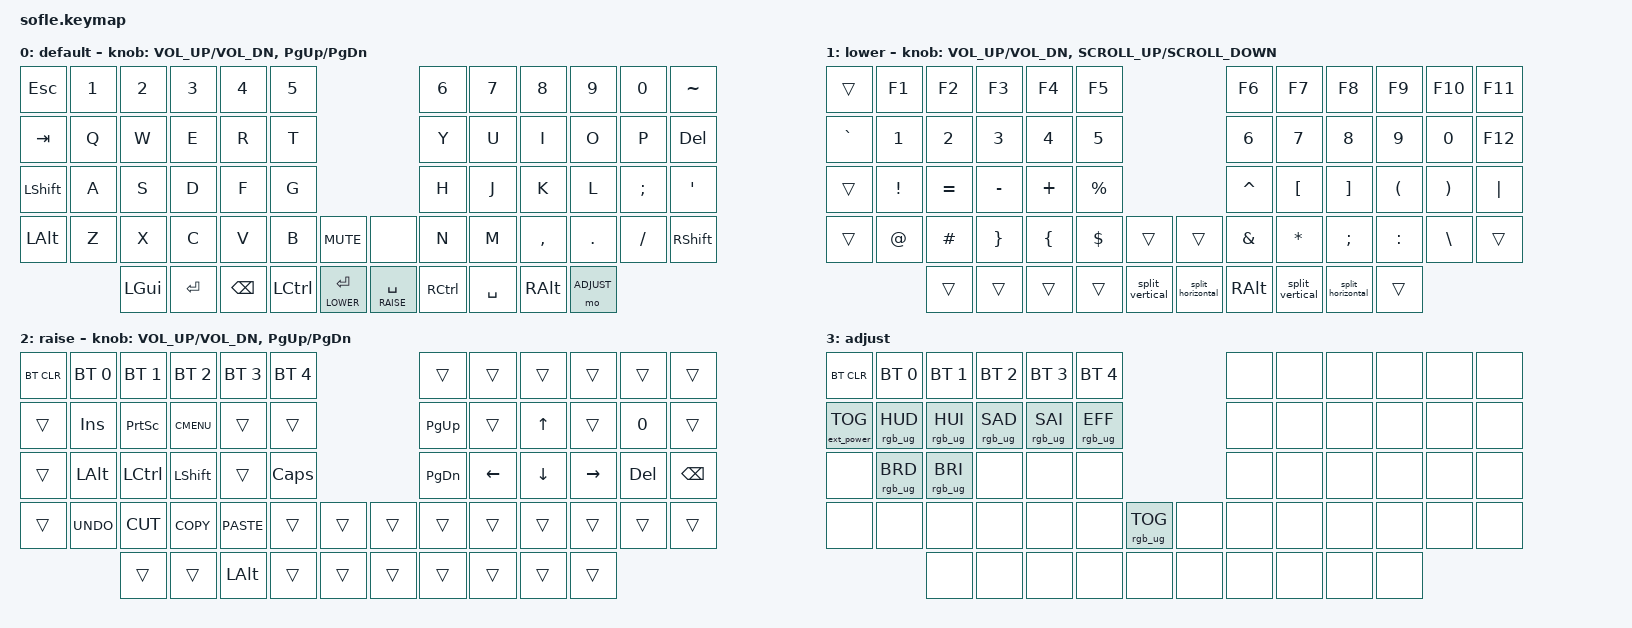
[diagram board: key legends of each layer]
/*
 * Copyright (c) 2020 The ZMK Contributors
 *
 * SPDX-License-Identifier: MIT
 */

#include <behaviors.dtsi>
#include <dt-bindings/zmk/bt.h>
#include <dt-bindings/zmk/ext_power.h>
#include <dt-bindings/zmk/keys.h>
#include <dt-bindings/zmk/rgb.h>

#define BASE 0
#define LOWER 1
#define RAISE 2
#define ADJUST 3

/ {
    conditional_layers {
        compatible = "zmk,conditional-layers";

        adjust_layer {
            if-layers = <LOWER RAISE>;
            then-layer = <ADJUST>;
        };
    };

    macros {
        split_vertical: split_vertical {
            compatible = "zmk,behavior-macro";
            #binding-cells = <0>;
            bindings =
                <&macro_press>,
                <&kp LALT>,
                <&macro_tap>,
                <&kp KP_MINUS>,
                <&macro_release>,
                <&kp LALT>;
        };

        split_horizontal: split_horizontal {
            compatible = "zmk,behavior-macro";
            #binding-cells = <0>;
            bindings =
                <&macro_press>,
                <&kp LALT>,
                <&macro_tap>,
                <&kp KP_PLUS>,
                <&macro_release>,
                <&kp LALT>;
        };
    };

    keymap {
        compatible = "zmk,keymap";

        default_layer {
            display-name = "default";
            bindings = <
&kp ESC    &kp N1  &kp N2    &kp N3     &kp N4    &kp N5                                                &kp N6     &kp N7     &kp N8     &kp N9      &kp N0    &kp TILDE
&kp TAB    &kp Q   &kp W     &kp E      &kp R     &kp T                                                 &kp Y      &kp U      &kp I      &kp O       &kp P     &kp DELETE
&kp LSHFT  &kp A   &kp S     &kp D      &kp F     &kp G                                                 &kp H      &kp J      &kp K      &kp L       &kp SEMI  &kp SQT
&kp LALT   &kp Z   &kp X     &kp C      &kp V     &kp B             &kp C_MUTE         &none            &kp N      &kp M      &kp COMMA  &kp DOT     &kp FSLH  &kp RSHFT
                   &kp LGUI  &kp ENTER  &kp BSPC  &kp LEFT_CONTROL  &lt LOWER ENTER    &lt RAISE SPACE  &kp RCTRL  &kp SPACE  &kp RALT   &mo ADJUST
            >;

            sensor-bindings = <&inc_dec_kp C_VOL_UP C_VOL_DN &inc_dec_kp PG_UP PG_DN>;
        };

        lower_layer {
            display-name = "lower";
            bindings = <
&trans     &kp F1       &kp F2     &kp F3           &kp F4    &kp F5                                            &kp F6         &kp F7            &kp F8             &kp F9     &kp F10   &kp F11
&kp GRAVE  &kp N1       &kp N2     &kp N3           &kp N4    &kp N5                                            &kp N6         &kp N7            &kp N8             &kp N9     &kp N0    &kp F12
&trans     &kp EXCL     &kp EQUAL  &kp MINUS        &kp PLUS  &kp PRCNT                                         &kp CARET      &kp LEFT_BRACKET  &kp RIGHT_BRACKET  &kp LPAR   &kp RPAR  &kp PIPE
&trans     &kp AT_SIGN  &kp HASH   &kp RIGHT_BRACE  &kp LBRC  &kp DOLLAR  &trans             &trans             &kp AMPS       &kp STAR          &kp SEMI           &kp COLON  &kp BSLH  &trans
                        &trans     &trans           &trans    &trans      &split_vertical    &split_horizontal  &kp RIGHT_ALT  &split_vertical   &split_horizontal  &trans
            >;

            sensor-bindings =
                <&inc_dec_kp C_VOL_UP C_VOL_DN>,
                <&inc_dec_kp K_SCROLL_UP K_SCROLL_DOWN>;
        };

        raise_layer {
            display-name = "raise";
            bindings = <
&bt BT_CLR  &bt BT_SEL 0  &bt BT_SEL 1  &bt BT_SEL 2  &bt BT_SEL 3  &bt BT_SEL 4                    &trans     &trans    &trans    &trans     &trans   &trans
&trans      &kp INS       &kp PSCRN     &kp K_CMENU   &trans        &trans                          &kp PG_UP  &trans    &kp UP    &trans     &kp N0   &trans
&trans      &kp LALT      &kp LCTRL     &kp LSHFT     &trans        &kp CLCK                        &kp PG_DN  &kp LEFT  &kp DOWN  &kp RIGHT  &kp DEL  &kp BSPC
&trans      &kp K_UNDO    &kp K_CUT     &kp K_COPY    &kp K_PASTE   &trans        &trans    &trans  &trans     &trans    &trans    &trans     &trans   &trans
                          &trans        &trans        &kp LEFT_ALT  &trans        &trans    &trans  &trans     &trans    &trans    &trans
            >;

            sensor-bindings = <&inc_dec_kp C_VOL_UP C_VOL_DN &inc_dec_kp PG_UP PG_DN>;
        };

        adjust_layer {
            display-name = "adjust";
            bindings = <
&bt BT_CLR         &bt BT_SEL 0     &bt BT_SEL 1     &bt BT_SEL 2     &bt BT_SEL 3     &bt BT_SEL 4                               &none  &none  &none  &none  &none  &none
&ext_power EP_TOG  &rgb_ug RGB_HUD  &rgb_ug RGB_HUI  &rgb_ug RGB_SAD  &rgb_ug RGB_SAI  &rgb_ug RGB_EFF                            &none  &none  &none  &none  &none  &none
&none              &rgb_ug RGB_BRD  &rgb_ug RGB_BRI  &none            &none            &none                                      &none  &none  &none  &none  &none  &none
&none              &none            &none            &none            &none            &none            &rgb_ug RGB_TOG    &none  &none  &none  &none  &none  &none  &none
                                    &none            &none            &none            &none            &none              &none  &none  &none  &none  &none
            >;
        };
    };
};
